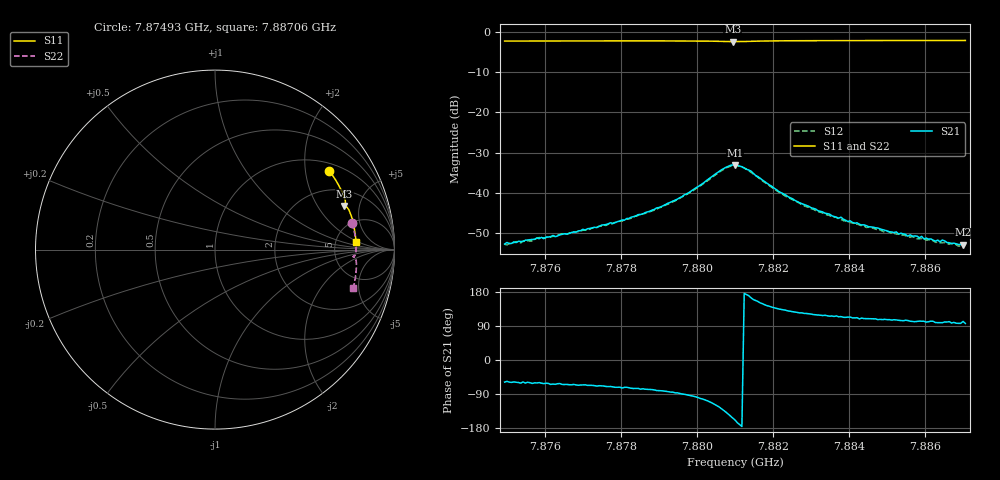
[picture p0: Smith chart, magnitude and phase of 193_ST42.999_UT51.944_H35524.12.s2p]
#  HZ  S  DB  R  50.00
! Rohde & Schwarz Vector Network Analyzer
! Rohde-Schwarz,ZNB20-2Port,1311601062101988,3.16
! Created: UTC 1/12/2023, 6:43:43 PM
! freq[Hz]  db:S11  ang:S11  db:S21  ang:S21  db:S12  ang:S12  db:S22  ang:S22
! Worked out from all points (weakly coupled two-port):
!   201 points, 7.87493 GHz to 7.88706 GHz, reference 50 ohm
!   highest |S21| = -33.09 dB at 7.881 GHz (marker M1); lowest = -53.0 dB at 7.887 GHz (marker M2)
!   lowest |S11| = -2.4 dB at 7.88094 GHz (marker M3), VSWR 7.36, Z = 154 + j177 ohm
!   |S11| at or under -10 dB: nowhere
!   |S22| runs from -2.3 to -1.9 dB; largest |S21 - S12| = 0.0018
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7.874934e9  -2.23 34.7  -52.82 -58.2  -52.87 -59.8  -2.17 10.8
7.876268e9  -2.22 31.0  -50.97 -64.1  -50.86 -64.8  -2.13 7.6
7.876996e9  -2.20 29.1  -49.14 -65.7  -49.34 -69.0  -2.12 5.9
7.877724e9  -2.19 27.0  -47.50 -69.9  -48.03 -74.0  -2.10 4.2
7.878088e9  -2.19 26.1  -46.86 -72.0  -46.74 -76.8  -2.09 3.4
7.878997e9  -2.19 23.5  -43.70 -80.8  -43.82 -83.9  -2.08 1.2
7.879604e9  -2.19 21.8  -41.00 -89.6  -41.08 -93.0  -2.08 -0.3
7.880635e9  -2.31 18.9  -34.35 -128.0  -34.57 -131.3  -2.20 -2.8
7.880938e9  -2.37 18.7  -33.10 -153.6  -33.28 -156.9  -2.26 -2.9
7.880999e9  -2.37 18.6  -33.09 -158.3  -33.22 -162.8  -2.27 -2.9
7.881423e9  -2.29 18.3  -34.64 163.9  -34.97 160.9  -2.19 -3.0
7.882151e9  -2.18 16.3  -39.72 134.6  -39.84 131.4  -2.06 -4.6
7.883061e9  -2.13 13.7  -43.90 119.9  -44.14 117.1  -2.01 -6.8
7.883789e9  -2.12 11.8  -46.12 114.6  -46.68 110.5  -1.98 -8.5
7.883971e9  -2.12 11.3  -47.21 113.2  -47.16 109.4  -1.99 -8.9
7.885063e9  -2.10 8.4  -49.79 106.6  -49.74 102.9  -1.96 -11.3
7.885912e9  -2.09 6.1  -50.90 102.3  -51.42 97.8  -1.95 -13.2
7.886276e9  -2.09 5.2  -52.07 98.9  -52.37 97.7  -1.95 -14.0
7.886458e9  -2.08 4.7  -51.80 98.5  -52.46 95.0  -1.95 -14.4
7.886882e9  -2.08 3.6  -52.91 96.7  -53.33 95.3  -1.95 -15.3
7.887004e9  -2.08 3.3  -52.98 101.8  -53.01 93.8  -1.94 -15.5
7.887064e9  -2.08 3.1  -52.86 96.5  -53.25 93.0  -1.94 -15.7
